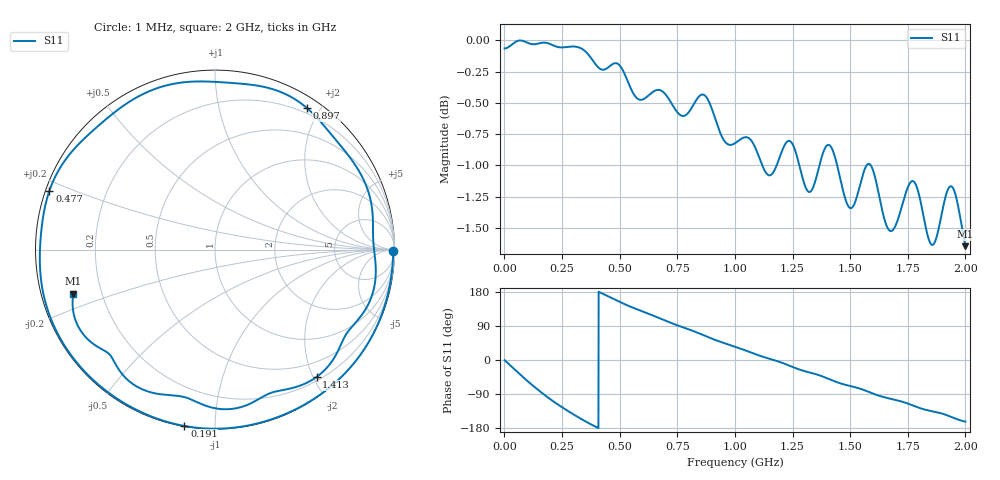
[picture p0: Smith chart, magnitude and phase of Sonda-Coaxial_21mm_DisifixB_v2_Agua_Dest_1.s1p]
! TOUCHSTONE file generated by CST MICROWAVE STUDIO
! Date and time: Sun Aug  2 11:33:42 2026
! Project name: Sonda-Coaxial_21mm_DisifixB_v2_Agua_Dest.cst
! Parameters = {h_recipiente=20; l_conector=50; r_arandela=35; r_ext=10.5; r_int=3; r_recipiente=100; z_recipiente=-10}
! Header version: 2018
! Port assignment regex: !\s*Touchstone port\s*([0-9]+)\s*=\s*(CST MWS port|CST DS port)\s*([0-9]+|Zmin|Zmax)\s*\(\"(.*)\"\)(\s*mode\s*([0-9]+))?.*
! Touchstone port assignment:
! Touchstone port 1 = CST MWS port 1 ("")
# GHz S RI R 50
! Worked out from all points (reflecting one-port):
!   2000 points, 1 MHz to 2 GHz, reference 50 ohm
!   lowest |S11| = -1.6 dB at 2 GHz (marker M1), VSWR 10.59, Z = 4.83 - j7.51 ohm
!   phase of S11 starts at -1 deg and turns -522 deg over the sweep
!   S11 on the Smith chart (normalised r, x): 1 MHz: open; 191 MHz: 0.00, -0.84; 477 MHz: 0.01, +0.17; 897 MHz: 0.13, +1.83; 1.413 GHz: 0.25, -2.05; 2 GHz: 0.10, -0.15
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0.001  0.9926 -0.0097
0.049  0.8855 -0.462
0.102  0.5498 -0.8326
0.146  0.1953 -0.9778
0.191  -0.1703 -0.9827
0.251  -0.5701 -0.8138
0.303  -0.8121 -0.574
0.354  -0.9447 -0.2943
0.409  -0.9752 0.000357
0.477  -0.9224 0.3286
0.501  -0.8729 0.439
0.554  -0.7199 0.6266
0.647  -0.4282 0.8526
0.696  -0.2345 0.923
0.751  -0.0217 0.9356
0.838  0.2931 0.9018
0.897  0.5117 0.7892
1.001  0.7438 0.5238
1.091  0.8747 0.2316
1.208  0.8958 -0.1278
1.251  0.8613 -0.2894
1.413  0.5656 -0.7098
1.501  0.3107 -0.7986
1.59  0.0548 -0.8895
1.751  -0.3711 -0.7912
1.802  -0.5179 -0.693
1.941  -0.7633 -0.4259
2  -0.7903 -0.2451
